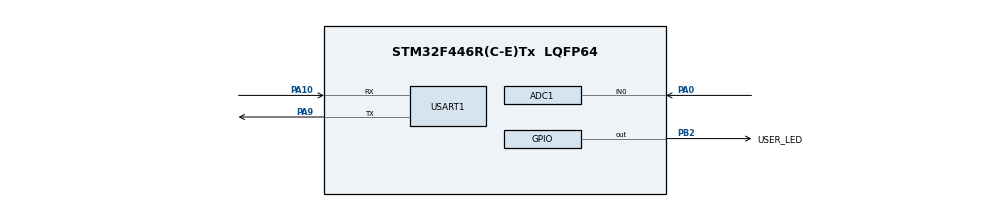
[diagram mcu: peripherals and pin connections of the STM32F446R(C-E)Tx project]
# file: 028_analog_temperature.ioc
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ADC1.Channel-0\#ChannelRegularConversion=ADC_CHANNEL_0
ADC1.NbrOfConversionFlag=1
ADC1.Rank-0\#ChannelRegularConversion=1
ADC1.SamplingTime-0\#ChannelRegularConversion=ADC_SAMPLETIME_3CYCLES
ADC1.master=1
Mcu.Family=STM32F4
Mcu.Name=STM32F446R(C-E)Tx
Mcu.Package=LQFP64
NVIC.ADC_IRQn=true\:0\:0\:false\:false\:true\:true\:true\:true
NVIC.PriorityGroup=NVIC_PRIORITYGROUP_4
NVIC.USART1_IRQn=true\:0\:0\:false\:false\:true\:true\:true\:true
PA0-WKUP.Signal=ADCx_IN0
PA10.Mode=Asynchronous
PA10.Signal=USART1_RX
PA9.Mode=Asynchronous
PA9.Signal=USART1_TX
PB2.GPIO_Label=USER_LED
PB2.Signal=GPIO_Output
ProjectManager.HeapSize=0x200
ProjectManager.StackSize=0x400
ProjectManager.TargetToolchain=STM32CubeIDE
RCC.CortexFreq_Value=16000000
RCC.USBFreq_Value=96000000
RCC.VCOOutputFreq_Value=192000000
SH.ADCx_IN0.0=ADC1_IN0,IN0
USART1.VirtualMode=VM_ASYNC
board=custom

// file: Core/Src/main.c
/* USER CODE BEGIN Header */
/**
  ******************************************************************************
  * @file           : main.c
  * @brief          : Main program body
  ******************************************************************************
  * @attention
  *
  * Copyright (c) 2025 STMicroelectronics.
  * All rights reserved.
  *
  * This software is licensed under terms that can be found in the LICENSE file
  * in the root directory of this software component.
  * If no LICENSE file comes with this software, it is provided AS-IS.
  *
  ******************************************************************************
  */
/* USER CODE END Header */
#include "main.h"

/* USER CODE BEGIN Includes */
#include "ringbuffer.h"
#include <stdio.h>
#include <string.h>
#include <math.h>
/* USER CODE END Includes */

/* USER CODE BEGIN PD */
#define WELCOME_MSG "Welcome to the Nucleo management console\r\n"
/* USER CODE END PD */

/* USER CODE BEGIN PM */
char readBuf[1];
uint8_t txData;
__IO ITStatus UartReady = SET;
__IO ITStatus UartTxComplete = SET;
RingBuffer txBuf, rxBuf;
volatile uint32_t adcValue = 0;
/* USER CODE END PM */

ADC_HandleTypeDef hadc1;

UART_HandleTypeDef huart1;

void SystemClock_Config(void);
static void MX_GPIO_Init(void);
static void MX_ADC1_Init(void);
static void MX_USART1_UART_Init(void);
/* USER CODE BEGIN PFP */
int _write(int file, char *ptr, int len)
{
  if (UART_Transmit(&huart1, (uint8_t *)ptr, len))
  {
    // Wait for transmission to complete to ensure log integrity
    while (UartTxComplete == RESET || RingBuffer_GetDataLength(&txBuf) > 0)
    {
      // Allow other interrupts to process
      __NOP();
    }
    return len;
  }
  return 0; // Return 0 on failure
}

float adc_to_temperature(uint32_t adcValue)
{
	float voltage = (adcValue * 3.3) / 4095.0;

	float temperature = voltage * 100.0;

	return temperature;
}
/* USER CODE END PFP */

int main(void)
{

  /* MCU Configuration--------------------------------------------------------*/

  /* Reset of all peripherals, Initializes the Flash interface and the Systick. */
  HAL_Init();

  /* Configure the system clock */
  SystemClock_Config();

  /* Initialize all configured peripherals */
  MX_GPIO_Init();
  MX_ADC1_Init();
  MX_USART1_UART_Init();
  /* USER CODE BEGIN 2 */
  HAL_NVIC_SetPriority(USART1_IRQn, 0, 0);
  HAL_NVIC_EnableIRQ(USART1_IRQn);

  RingBuffer_Init(&txBuf);
  RingBuffer_Init(&rxBuf);

  UART_Transmit(&huart1, (uint8_t*)WELCOME_MSG, strlen(WELCOME_MSG));

  HAL_Delay(100);
  /* USER CODE END 2 */

  /* Infinite loop */
  /* USER CODE BEGIN WHILE */
  while (1)
  {
	  HAL_ADC_Start(&hadc1);

	  if (HAL_ADC_PollForConversion(&hadc1, 100) == HAL_OK)
	  {
		  adcValue = HAL_ADC_GetValue(&hadc1);
		  float temp = adc_to_temperature(adcValue);

		  printf("ADC: %lu, Temp: %.2f°C\r\n", adcValue, temp);
	  }

	  HAL_ADC_Stop(&hadc1);

	  HAL_Delay(100);
    /* USER CODE END WHILE */

  }
}

void SystemClock_Config(void)
{
  RCC_OscInitTypeDef RCC_OscInitStruct = {0};
  RCC_ClkInitTypeDef RCC_ClkInitStruct = {0};

  /** Configure the main internal regulator output voltage
  */
  __HAL_RCC_PWR_CLK_ENABLE();
  __HAL_PWR_VOLTAGESCALING_CONFIG(PWR_REGULATOR_VOLTAGE_SCALE3);

  /** Initializes the RCC Oscillators according to the specified parameters
  * in the RCC_OscInitTypeDef structure.
  */
  RCC_OscInitStruct.OscillatorType = RCC_OSCILLATORTYPE_HSI;
  RCC_OscInitStruct.HSIState = RCC_HSI_ON;
  RCC_OscInitStruct.HSICalibrationValue = RCC_HSICALIBRATION_DEFAULT;
  RCC_OscInitStruct.PLL.PLLState = RCC_PLL_NONE;
  if (HAL_RCC_OscConfig(&RCC_OscInitStruct) != HAL_OK)
  {
    Error_Handler();
  }

  /** Initializes the CPU, AHB and APB buses clocks
  */
  RCC_ClkInitStruct.ClockType = RCC_CLOCKTYPE_HCLK|RCC_CLOCKTYPE_SYSCLK
                              |RCC_CLOCKTYPE_PCLK1|RCC_CLOCKTYPE_PCLK2;
  RCC_ClkInitStruct.SYSCLKSource = RCC_SYSCLKSOURCE_HSI;
  RCC_ClkInitStruct.AHBCLKDivider = RCC_SYSCLK_DIV1;
  RCC_ClkInitStruct.APB1CLKDivider = RCC_HCLK_DIV1;
  RCC_ClkInitStruct.APB2CLKDivider = RCC_HCLK_DIV1;

  if (HAL_RCC_ClockConfig(&RCC_ClkInitStruct, FLASH_LATENCY_0) != HAL_OK)
  {
    Error_Handler();
  }
}

static void MX_ADC1_Init(void)
{

  ADC_ChannelConfTypeDef sConfig = {0};

  /** Configure the global features of the ADC (Clock, Resolution, Data Alignment and number of conversion)
  */
  hadc1.Instance = ADC1;
  hadc1.Init.ClockPrescaler = ADC_CLOCK_SYNC_PCLK_DIV2;
  hadc1.Init.Resolution = ADC_RESOLUTION_12B;
  hadc1.Init.ScanConvMode = DISABLE;
  hadc1.Init.ContinuousConvMode = DISABLE;
  hadc1.Init.DiscontinuousConvMode = DISABLE;
  hadc1.Init.ExternalTrigConvEdge = ADC_EXTERNALTRIGCONVEDGE_NONE;
  hadc1.Init.ExternalTrigConv = ADC_SOFTWARE_START;
  hadc1.Init.DataAlign = ADC_DATAALIGN_RIGHT;
  hadc1.Init.NbrOfConversion = 1;
  hadc1.Init.DMAContinuousRequests = DISABLE;
  hadc1.Init.EOCSelection = ADC_EOC_SINGLE_CONV;
  if (HAL_ADC_Init(&hadc1) != HAL_OK)
  {
    Error_Handler();
  }

  /** Configure for the selected ADC regular channel its corresponding rank in the sequencer and its sample time.
  */
  sConfig.Channel = ADC_CHANNEL_0;
  sConfig.Rank = 1;
  sConfig.SamplingTime = ADC_SAMPLETIME_3CYCLES;
  if (HAL_ADC_ConfigChannel(&hadc1, &sConfig) != HAL_OK)
  {
    Error_Handler();
  }

}

static void MX_USART1_UART_Init(void)
{

  huart1.Instance = USART1;
  huart1.Init.BaudRate = 115200;
  huart1.Init.WordLength = UART_WORDLENGTH_8B;
  huart1.Init.StopBits = UART_STOPBITS_1;
  huart1.Init.Parity = UART_PARITY_NONE;
  huart1.Init.Mode = UART_MODE_TX_RX;
  huart1.Init.HwFlowCtl = UART_HWCONTROL_NONE;
  huart1.Init.OverSampling = UART_OVERSAMPLING_16;
  if (HAL_UART_Init(&huart1) != HAL_OK)
  {
    Error_Handler();
  }

}

static void MX_GPIO_Init(void)
{
  GPIO_InitTypeDef GPIO_InitStruct = {0};

  /* GPIO Ports Clock Enable */
  __HAL_RCC_GPIOA_CLK_ENABLE();
  __HAL_RCC_GPIOB_CLK_ENABLE();

  /*Configure GPIO pin Output Level */
  HAL_GPIO_WritePin(USER_LED_GPIO_Port, USER_LED_Pin, GPIO_PIN_RESET);

  /*Configure GPIO pin : USER_LED_Pin */
  GPIO_InitStruct.Pin = USER_LED_Pin;
  GPIO_InitStruct.Mode = GPIO_MODE_OUTPUT_PP;
  GPIO_InitStruct.Pull = GPIO_NOPULL;
  GPIO_InitStruct.Speed = GPIO_SPEED_FREQ_LOW;
  HAL_GPIO_Init(USER_LED_GPIO_Port, &GPIO_InitStruct);

}

/* USER CODE BEGIN 4 */
uint8_t UART_Transmit(UART_HandleTypeDef *huart, uint8_t *pData, uint16_t len)
{
  UartTxComplete = RESET; // Mark transmission as in progress
  if (HAL_UART_Transmit_IT(huart, pData, len) != HAL_OK)
  {
    if (RingBuffer_Write(&txBuf, pData, len) != RING_BUFFER_OK)
      return 0;
  }
  return 1;
}

void HAL_UART_RxCpltCallback(UART_HandleTypeDef *UartHandle)
{
  /* Set transmission flag: transfer complete*/
  UartReady = SET;
}

void HAL_UART_TxCpltCallback(UART_HandleTypeDef *huart)
{
  if (huart == &huart1)
  {
    if (RingBuffer_GetDataLength(&txBuf) > 0)
    {
      RingBuffer_Read(&txBuf, &txData, 1);
      HAL_UART_Transmit_IT(huart, &txData, 1);
    }
    else
    {
      UartTxComplete = SET; // Mark transmission as complete when buffer is empty
    }
  }
}

/* USER CODE END 4 */

void Error_Handler(void)
{
  __disable_irq();
  while (1)
  {
  }
}
